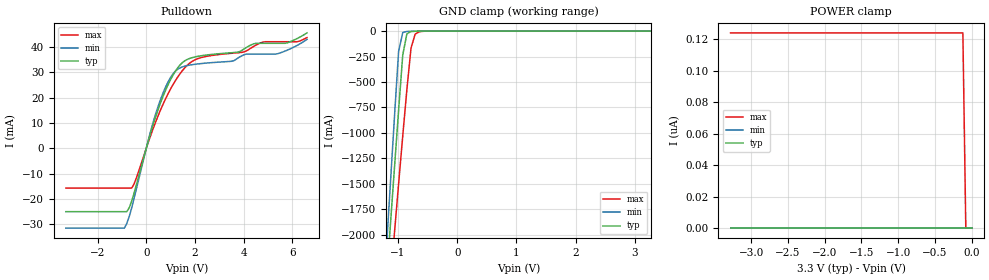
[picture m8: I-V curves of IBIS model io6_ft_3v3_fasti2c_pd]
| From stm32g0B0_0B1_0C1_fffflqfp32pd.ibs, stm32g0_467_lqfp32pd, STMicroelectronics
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[Model]  io6_ft_3v3_fasti2c_pd
Model_type I/O_open_drain
Polarity   Non-Inverting
Enable   Active-Low
Vinl =   0.990000V
Vinh =   2.310000V
Vmeas =  1.650000V
Cref =   50.000000pF
Rref =   500
Vref =   3.0V
C_comp   1.290400pF   1.272500pF   1.305600pF
[Temperature Range]   25.000000   -40.000000   0.125000k
[Pullup Reference]   3.300000V   3.000000V   3.600000V
[Pulldown Reference]   0.0V   0.0V   0.0V
[POWER Clamp Reference]   3.300000V   3.000000V   3.600000V
[GND Clamp Reference]   0.0V   0.0V   0.0V
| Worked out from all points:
|   slope of the pulldown table from 0 to 0.495 V, typ, clamps not added: 31.8 ohm
|   GND clamp passes 1 mA (typ) near -0.65 V on its own axis
[Pulldown]
|Voltage   I(typ)   I(min)   I(max)
-3.3V     -25.03mA   -31.54mA   -15.7mA
-900mV    -25.03mA   -31.54mA   -15.7mA
-700mV    -23.48mA   -26.95mA   -15.7mA
-500mV    -17.69mA   -19.75mA   -14.07mA
100mV     3.479mA    3.853mA    2.862mA
500mV     15.71mA    16.96mA    13.17mA
900mV     25.22mA    26.33mA    21.66mA
1.3V      31.91mA    31.32mA    28.29mA
2.2V      36.48mA    33.43mA    35.69mA
4.1V      39.78mA    37.21mA    38.43mA
5.4V      41.49mA    37.39mA    42.11mA
6.6V      45.6mA     43.05mA    43.74mA
[GND_clamp]
|Voltage   I(typ)   I(min)   I(max)
-3.3V     -9.61A     -9.635A    -9.699A
-1.2V     -2.493A    -2.184A    -2.958A
-1.13V    -1.917A    -1.512A    -2.469A
-1.06V    -1.345A    -845.6mA   -1.983A
-990mV    -779.8mA   -200.2mA   -1.503A
-920mV    -235.6mA   -14.2mA    -1.03A
-850mV    -26.08mA   -3.351mA   -574.2mA
-780mV    -4.512mA   -1.821mA   -166.4mA
-710mV    -1.735mA   -881.8uA   -29.46mA
-640mV    -819.4uA   -295.6uA   -6.294mA
3.28V     86.85uA    64.2uA     109.1uA
[POWER_clamp]
|Voltage   I(typ)   I(min)   I(max)
-3.28V    0A         0A         124nA
-120mV    0A         0A         124nA
-80mV     0A         0A         0A
0V        0A         0A         0A
[Ramp]
| variable   typ   min   max
dV/dt_r  1.07274/2.09608n   0.96030/2.04067n   1.028/2.37778n
dV/dt_f  1.02906/1.87194n   0.94902/1.89195n   1.02288/1.93068n
R_load = 50.000000
